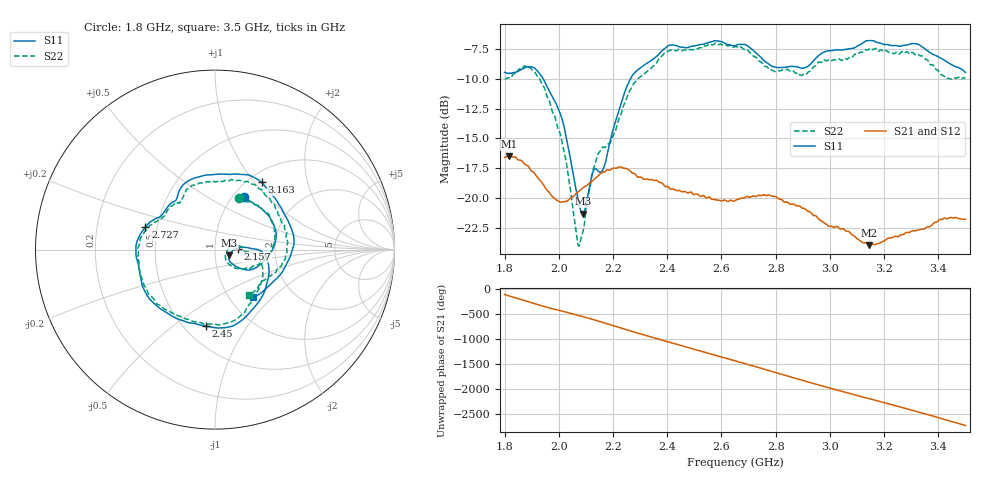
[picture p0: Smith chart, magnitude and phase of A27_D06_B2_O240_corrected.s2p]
! Created with skrf 1.9.0 (http://scikit-rf.org).
# Hz S RI R 50.0
!freq ReS11 ImS11 ReS21 ImS21 ReS12 ImS12 ReS22 ImS22
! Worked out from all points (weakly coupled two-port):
!   1601 points, 1.8 GHz to 3.5 GHz, reference 50 ohm
!   highest |S21| = -16.52 dB at 1.816 GHz (marker M1); lowest = -23.9 dB at 3.144 GHz (marker M2)
!   lowest |S11| = -21.3 dB at 2.089 GHz (marker M3), VSWR 1.19, Z = 58.5 - j3.8 ohm
!   |S11| at or under -10 dB: 1.942 GHz to 2.264 GHz (322 MHz wide, 15.3 % of centre)
!   |S22| runs from -24.1 to -7.0 dB; largest |S21 - S12| = 0.0026
!   S11 on the Smith chart (normalised r, x): 1.8 GHz: 1.12, +0.75; 2.157 GHz: 1.29, +0.01; 2.45 GHz: 0.64, -0.66; 2.727 GHz: 0.43, +0.13; 3.163 GHz: 1.15, +1.09; 3.5 GHz: 1.28, -0.76
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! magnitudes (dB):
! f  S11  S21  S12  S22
! 1.8 GHz  -9.5  -16.6  -16.6  -10.0
! 1.816 GHz  -9.5  -16.5  -16.5  -9.9
! 1.88 GHz  -9.0  -17.3  -17.2  -9.0
! 1.942 GHz  -10.0  -18.9  -18.9  -10.6
! 2.013 GHz  -13.4  -20.3  -20.3  -15.4
! 2.068 GHz  -19.8  -19.6  -19.6  -23.5
! 2.084 GHz  -21.2  -19.3  -19.2  -23.2
! 2.089 GHz  -21.3  -19.2  -19.2  -22.8
! 2.127 GHz  -17.7  -18.5  -18.5  -17.6
! 2.157 GHz  -17.8  -17.9  -17.9  -15.9
! 2.196 GHz  -14.6  -17.5  -17.5  -15.0
! 2.26 GHz  -10.2  -17.7  -17.7  -11.1
! 2.367 GHz  -8.0  -18.6  -18.6  -8.4
! 2.45 GHz  -7.3  -19.4  -19.4  -7.6
! 2.65 GHz  -7.2  -20.2  -20.2  -7.3
! 2.727 GHz  -7.8  -19.9  -19.9  -8.2
! 2.801 GHz  -9.0  -19.9  -19.9  -9.3
! 2.934 GHz  -8.6  -21.4  -21.3  -9.2
! 3.144 GHz  -6.8  -23.9  -23.9  -7.5
! 3.163 GHz  -6.8  -23.9  -23.9  -7.5
! 3.217 GHz  -7.2  -23.4  -23.4  -7.8
! 3.5 GHz  -9.5  -21.8  -21.8  -10.0
